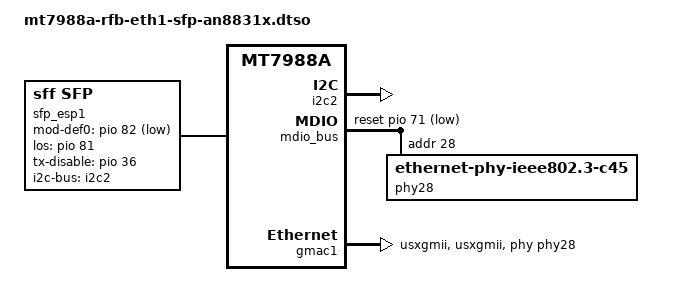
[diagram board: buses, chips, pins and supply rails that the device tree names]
// SPDX-License-Identifier: (GPL-2.0 OR MIT)
/*
 * Copyright (C) 2022 MediaTek Inc.
 * Author: Sam.Shih <sam.shih@mediatek.com>
 */

/dts-v1/;
/plugin/;

#include <dt-bindings/gpio/gpio.h>

/ {
	compatible = "mediatek,mt7988a-rfb", "mediatek,mt7988a";

	fragment@0 {
		target = <&i2c2>;
		__overlay__ {
			pinctrl-names = "default";
			pinctrl-0 = <&i2c2_0_pins>;
			status = "okay";
		};
	};

	fragment@1 {
		target-path = "/";
		__overlay__ {
			sfp_esp1: sfp@1 {
				compatible = "sff,sfp";
				i2c-bus = <&i2c2>;
				mod-def0-gpios = <&pio 82 GPIO_ACTIVE_LOW>;
				los-gpios = <&pio 81 GPIO_ACTIVE_HIGH>;
				tx-disable-gpios = <&pio 36 GPIO_ACTIVE_HIGH>;
				maximum-power-milliwatt = <3000>;
			};
		};
	};

	fragment@2 {
		target = <&eth>;
		__overlay__ {
			mux: mux-bus {
				mux1: ethernet-mux@1 {
					compatible = "mediatek,eth-mux";
					reg = <1>;

					chan-sel-gpios = <&pio 33 GPIO_ACTIVE_HIGH>;
					mod-def0-gpios = <&pio 82 GPIO_ACTIVE_LOW>;
					sfp-connected-channel = <0>;

					channel0: channel@0 {
						reg = <0>;
						phy-mode = "10gbase-r";
						phy-connection-type = "10gbase-r";
						managed = "in-band-status";
						sfp = <&sfp_esp1>;
					};

					channel1: channel@1 {
						reg = <1>;
						phy-mode = "usxgmii";
						phy-connection-type = "usxgmii";
						phy-handle = <&phy28>;
					};
				};
			};
		};
	};

	fragment@3 {
		target = <&mdio_bus>;
		__overlay__ {
			#address-cells = <1>;
			#size-cells = <0>;
			clock-frequency = <12500000>;
			reset-gpios = <&pio 71 GPIO_ACTIVE_LOW>;
			reset-delay-us = <200000>;
			reset-post-delay-us = <350000>;

			/* external Airoha AN8831X */
			phy28: ethernet-phy@28 {
				reg = <28>;
				compatible = "ethernet-phy-ieee802.3-c45";
				firmware-name = "as21x1x_fw.bin";

				leds {
					#address-cells = <1>;
					#size-cells = <0>;

					phy28_led0: an8831x_phy28_led0@0 {
						reg = <0>;
						linux,default-trigger = "netdev";
						active-high;
						status = "okay";
					};

					phy28_led1: an8831x_phy28_led1@1 {
						reg = <1>;
						linux,default-trigger = "netdev";
						active-high;
						status = "okay";
					};
				};
			};
		};
	};

	fragment@4 {
		target = <&gmac1>;
		__overlay__ {
			phy-mode = "usxgmii";
			phy-connection-type = "usxgmii";
			phy = <&phy28>;
			status = "okay";
		};
	};
};
